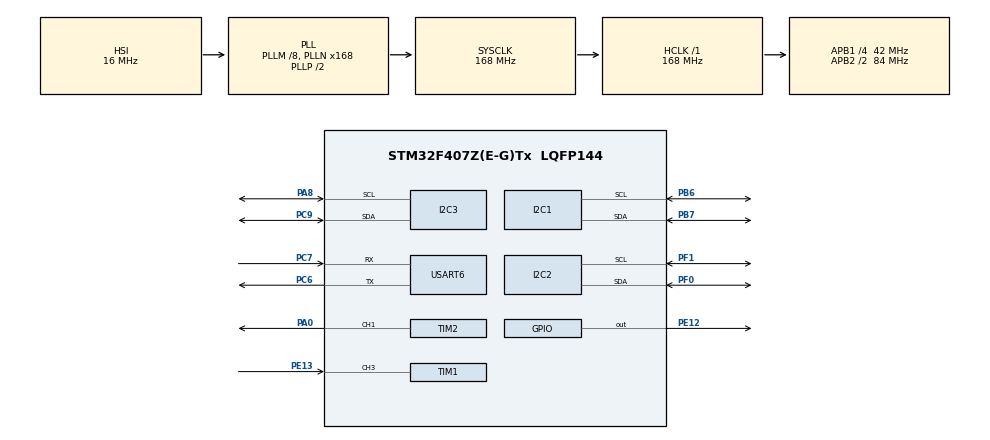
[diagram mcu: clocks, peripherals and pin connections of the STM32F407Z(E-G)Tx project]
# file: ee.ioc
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Dma.Request0=USART6_RX
Dma.Request1=USART6_TX
Dma.USART6_RX.0.Direction=DMA_PERIPH_TO_MEMORY
Dma.USART6_RX.0.FIFOMode=DMA_FIFOMODE_DISABLE
Dma.USART6_RX.0.Instance=DMA2_Stream1
Dma.USART6_RX.0.MemDataAlignment=DMA_MDATAALIGN_BYTE
Dma.USART6_RX.0.MemInc=DMA_MINC_ENABLE
Dma.USART6_RX.0.Mode=DMA_NORMAL
Dma.USART6_RX.0.PeriphDataAlignment=DMA_PDATAALIGN_BYTE
Dma.USART6_RX.0.PeriphInc=DMA_PINC_DISABLE
Dma.USART6_RX.0.Priority=DMA_PRIORITY_LOW
Dma.USART6_TX.1.Direction=DMA_MEMORY_TO_PERIPH
Dma.USART6_TX.1.FIFOMode=DMA_FIFOMODE_DISABLE
Dma.USART6_TX.1.Instance=DMA2_Stream6
Dma.USART6_TX.1.MemDataAlignment=DMA_MDATAALIGN_BYTE
Dma.USART6_TX.1.MemInc=DMA_MINC_ENABLE
Dma.USART6_TX.1.Mode=DMA_NORMAL
Dma.USART6_TX.1.PeriphDataAlignment=DMA_PDATAALIGN_BYTE
Dma.USART6_TX.1.PeriphInc=DMA_PINC_DISABLE
Dma.USART6_TX.1.Priority=DMA_PRIORITY_LOW
I2C3.I2C_Mode=I2C_Fast
Mcu.Family=STM32F4
Mcu.Name=STM32F407Z(E-G)Tx
Mcu.Package=LQFP144
NVIC.DMA2_Stream1_IRQn=true\:0\:0\:false\:false\:true\:false\:true\:true
NVIC.DMA2_Stream6_IRQn=true\:0\:0\:false\:false\:true\:false\:true\:true
NVIC.PriorityGroup=NVIC_PRIORITYGROUP_4
NVIC.USART6_IRQn=true\:0\:0\:false\:false\:true\:true\:true\:true
PA0-WKUP.Signal=S_TIM2_CH1_ETR
PA13.Mode=Serial_Wire
PA13.Signal=SYS_JTMS-SWDIO
PA14.Mode=Serial_Wire
PA14.Signal=SYS_JTCK-SWCLK
PA8.Mode=I2C
PA8.Signal=I2C3_SCL
PB6.Mode=I2C
PB6.Signal=I2C1_SCL
PB7.Mode=I2C
PB7.Signal=I2C1_SDA
PC6.Mode=Asynchronous
PC6.Signal=USART6_TX
PC7.Mode=Asynchronous
PC7.Signal=USART6_RX
PC9.Mode=I2C
PC9.Signal=I2C3_SDA
PE12.Signal=GPIO_Output
PE13.Signal=S_TIM1_CH3
PF0.Mode=I2C
PF0.Signal=I2C2_SDA
PF1.Mode=I2C
PF1.Signal=I2C2_SCL
PH0-OSC_IN.Mode=HSE-External-Oscillator
PH0-OSC_IN.Signal=RCC_OSC_IN
PH1-OSC_OUT.Mode=HSE-External-Oscillator
PH1-OSC_OUT.Signal=RCC_OSC_OUT
ProjectManager.HeapSize=0x200
ProjectManager.StackSize=0x400
ProjectManager.TargetToolchain=STM32CubeIDE
RCC.48MHZClocksFreq_Value=84000000
RCC.AHBFreq_Value=168000000
RCC.APB1CLKDivider=RCC_HCLK_DIV4
RCC.APB1Freq_Value=42000000
RCC.APB1TimFreq_Value=84000000
RCC.APB2CLKDivider=RCC_HCLK_DIV2
RCC.APB2Freq_Value=84000000
RCC.APB2TimFreq_Value=168000000
RCC.CortexFreq_Value=168000000
RCC.HCLKFreq_Value=168000000
RCC.HSE_VALUE=25000000
RCC.HSI_VALUE=16000000
RCC.LSE_VALUE=32768
RCC.PLLM=8
RCC.PLLN=168
RCC.SYSCLKFreq_VALUE=168000000
RCC.SYSCLKSource=RCC_SYSCLKSOURCE_PLLCLK
RCC.VCOOutputFreq_Value=336000000
SH.S_TIM1_CH3.0=TIM1_CH3,Input_Capture3_from_TI3
SH.S_TIM2_CH1_ETR.0=TIM2_CH1,PWM Generation1 CH1
TIM1.AutoReloadPreload=TIM_AUTORELOAD_PRELOAD_ENABLE
TIM1.Channel-Input_Capture3_from_TI3=TIM_CHANNEL_3
TIM1.Channel-Input_Capture4_from_TI3_63=TIM_CHANNEL_4
TIM1.ICPolarity_CH4=TIM_INPUTCHANNELPOLARITY_FALLING
TIM1.Prescaler=168-1
TIM2.AutoReloadPreload=TIM_AUTORELOAD_PRELOAD_ENABLE
TIM2.Channel-PWM\ Generation1\ CH1=TIM_CHANNEL_1
TIM2.Period=999
TIM2.Prescaler=168-1
USART6.VirtualMode=VM_ASYNC
VP_TIM1_VS_ClockSourceINT.Mode=Internal
VP_TIM1_VS_indirect_ch3.Mode=Input_Capture4_from_TI3_63
VP_TIM2_VS_ClockSourceINT.Mode=Internal
board=custom

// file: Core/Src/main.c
/* USER CODE BEGIN Header */
/**
  ******************************************************************************
  * @file           : main.c
  * @brief          : Main program body
  ******************************************************************************
  * @attention
  *
  * Copyright (c) 2025 STMicroelectronics.
  * All rights reserved.
  *
  * This software is licensed under terms that can be found in the LICENSE file
  * in the root directory of this software component.
  * If no LICENSE file comes with this software, it is provided AS-IS.
  *
  ******************************************************************************
  */
/* USER CODE END Header */
#include "main.h"
#include "dma.h"
#include "i2c.h"
#include "tim.h"
#include "usart.h"
#include "gpio.h"

/* USER CODE BEGIN Includes */
#include "chuankou.h"
#include "PCA9685.h"
#include "contact.h"
#include "oled.h"
#include "stdio.h"
#include "TSL.h"
#include<string.h>
/* USER CODE END Includes */

/* USER CODE BEGIN PTD */
char OLED[20];
/* USER CODE END PTD */

void SystemClock_Config(void);

int main(void)
{

  /* MCU Configuration--------------------------------------------------------*/

  /* Reset of all peripherals, Initializes the Flash interface and the Systick. */
  HAL_Init();

  /* Configure the system clock */
  SystemClock_Config();

  /* Initialize all configured peripherals */
  MX_GPIO_Init();
  MX_DMA_Init();
  MX_USART6_UART_Init();
  MX_I2C1_Init();
  MX_I2C2_Init();
  MX_I2C3_Init();
  MX_TIM1_Init();
  MX_TIM2_Init();
  /* USER CODE BEGIN 2 */
  HAL_TIM_PWM_Start(&htim2,TIM_CHANNEL_1);
  HAL_Delay(20);
   OLED_Init();
   TSL2591_Init(&hi2c3);
   HAL_TIM_Base_Start(&htim1);
   HAL_TIM_IC_Start(&htim1,TIM_CHANNEL_3);
   HAL_TIM_IC_Start_IT(&htim1,TIM_CHANNEL_4);

	  OLED_NewFrame();//OLED显示
	  sprintf(OLED,"AIDoLamp");
	  OLED_PrintString(0,0,OLED,&font16x16,OLED_COLOR_NORMAL);
	  OLED_ShowFrame();

  chuankou_init();
  PCA_Servo_Init2();

  printf("1\n");
  extern int flag;
  /* USER CODE END 2 */
//  int pwm=0;
//  HAL_Delay(7000);
//  __HAL_TIM_SET_COMPARE(&htim2,TIM_CHANNEL_1,200);
//  HAL_Delay(1500);
 __HAL_TIM_SET_COMPARE(&htim2,TIM_CHANNEL_1,1000);
 //  HAL_Delay(10000);
 // __HAL_TIM_SET_COMPARE(&htim2,TIM_CHANNEL_1,800);
  //HAL_Delay(1500);
  ///__HAL_TIM_SET_COMPARE(&htim2,TIM_CHANNEL_1,600);
  //HAL_Delay(1500);
 // __HAL_TIM_SET_COMPARE(&htim2,TIM_CHANNEL_1,400);
 // HAL_Delay(1500);
 // __HAL_TIM_SET_COMPARE(&htim2,TIM_CHANNEL_1,200);
  /* Infinite loop */
  /* USER CODE BEGIN WHILE */
  while (1)
  {
	  if(flag == 1)
	  {
		  //res = parse_command(receiveData);
		  //printf("%s,%f,%f\n",res.command, res.params[0], res.params[1]);
		  contact();
		  flag = 0;
	  }

//	  for(pwm;pwm<=1000;pwm+=100)
//	  {
		  //__HAL_TIM_SET_COMPARE(&htim2,TIM_CHANNEL_1,pwm);
//		  HAL_Delay(1500);
//	  }

    /* USER CODE END WHILE */

  }
}

void SystemClock_Config(void)
{
  RCC_OscInitTypeDef RCC_OscInitStruct = {0};
  RCC_ClkInitTypeDef RCC_ClkInitStruct = {0};

  /** Configure the main internal regulator output voltage
  */
  __HAL_RCC_PWR_CLK_ENABLE();
  __HAL_PWR_VOLTAGESCALING_CONFIG(PWR_REGULATOR_VOLTAGE_SCALE1);

  /** Initializes the RCC Oscillators according to the specified parameters
  * in the RCC_OscInitTypeDef structure.
  */
  RCC_OscInitStruct.OscillatorType = RCC_OSCILLATORTYPE_HSI;
  RCC_OscInitStruct.HSIState = RCC_HSI_ON;
  RCC_OscInitStruct.HSICalibrationValue = RCC_HSICALIBRATION_DEFAULT;
  RCC_OscInitStruct.PLL.PLLState = RCC_PLL_ON;
  RCC_OscInitStruct.PLL.PLLSource = RCC_PLLSOURCE_HSI;
  RCC_OscInitStruct.PLL.PLLM = 8;
  RCC_OscInitStruct.PLL.PLLN = 168;
  RCC_OscInitStruct.PLL.PLLP = RCC_PLLP_DIV2;
  RCC_OscInitStruct.PLL.PLLQ = 4;
  if (HAL_RCC_OscConfig(&RCC_OscInitStruct) != HAL_OK)
  {
    Error_Handler();
  }

  /** Initializes the CPU, AHB and APB buses clocks
  */
  RCC_ClkInitStruct.ClockType = RCC_CLOCKTYPE_HCLK|RCC_CLOCKTYPE_SYSCLK
                              |RCC_CLOCKTYPE_PCLK1|RCC_CLOCKTYPE_PCLK2;
  RCC_ClkInitStruct.SYSCLKSource = RCC_SYSCLKSOURCE_PLLCLK;
  RCC_ClkInitStruct.AHBCLKDivider = RCC_SYSCLK_DIV1;
  RCC_ClkInitStruct.APB1CLKDivider = RCC_HCLK_DIV4;
  RCC_ClkInitStruct.APB2CLKDivider = RCC_HCLK_DIV2;

  if (HAL_RCC_ClockConfig(&RCC_ClkInitStruct, FLASH_LATENCY_5) != HAL_OK)
  {
    Error_Handler();
  }
}

void Error_Handler(void)
{
  __disable_irq();
  while (1)
  {
  }
}
